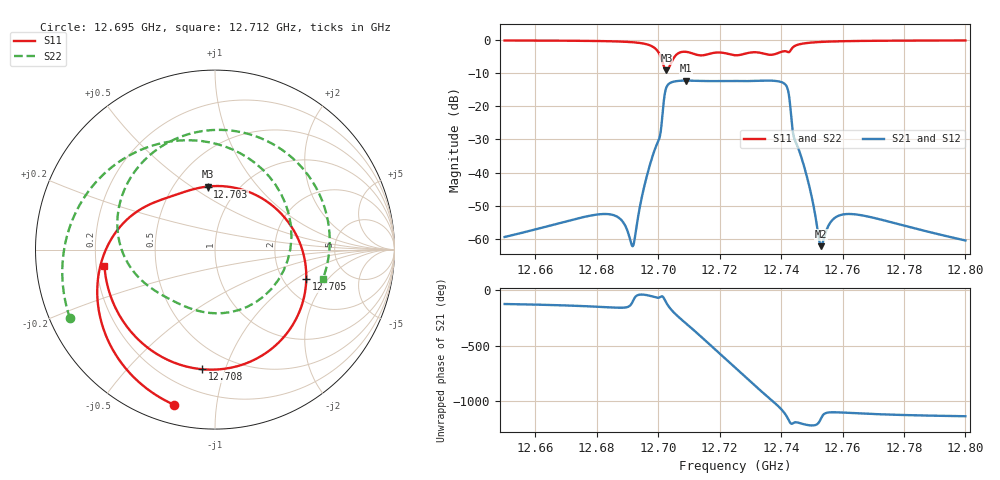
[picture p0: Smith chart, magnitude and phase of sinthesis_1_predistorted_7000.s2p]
! libcommonfunc Library of common functions for microwave filters synthesis; version 1.5.2
! [S] parameters file in TouchStone format.
# GHZ S DB R 50
!Freq  S11(dB)  S11(ang)  S12(dB)  S12(ang)  S21(dB)  S21(ang)  S22(dB)  S22(ang)
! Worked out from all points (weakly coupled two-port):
!   2000 points, 12.65 GHz to 12.8 GHz, reference 50 ohm
!   highest |S21| = -12.19 dB at 12.709 GHz (marker M1); lowest = -62.3 dB at 12.753 GHz (marker M2)
!   lowest |S11| = -9.0 dB at 12.703 GHz (marker M3), VSWR 2.09, Z = 36.3 + j29.1 ohm
!   |S11| at or under -10 dB: nowhere
!   |S22| runs from -9.0 to -0.1 dB; largest |S21 - S12| = 0
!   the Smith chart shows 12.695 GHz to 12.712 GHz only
!   S11 on the Smith chart (normalised r, x): 12.695 GHz: 0.09, -0.77; 12.703 GHz: 0.73, +0.58; 12.705 GHz: 2.66, -1.23; 12.708 GHz: 0.35, -0.84; 12.712 GHz: 0.23, -0.07
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12.65  -0.06 -31.1  -59.50 -122.4  -59.50 -122.4  -0.06 -46.1
12.67506  -0.16 -49.5  -53.61 -140.8  -53.61 -140.8  -0.16 -73.7
12.69165  -0.59 -86.1  -62.28 -103.0  -62.28 -103.0  -0.59 -128.0
12.6951  -0.97 -104.7  -45.64 -37.4  -45.64 -37.4  -0.97 -154.6
12.70005  -3.58 -168.1  -30.46 -65.3  -30.46 -65.3  -3.58 116.3
12.70268  -9.03 96.5  -14.23 -113.0  -14.23 -113.0  -9.03 -100.0
12.705  -5.44 -18.0  -12.52 163.3  -12.52 163.3  -5.44 175.3
12.70823  -3.47 -96.2  -12.20 80.8  -12.20 80.8  -3.47 75.5
12.7089  -3.48 -110.0  -12.19 64.6  -12.19 64.6  -3.48 55.6
12.71161  -4.11 -171.3  -12.25 -0.3  -12.25 -0.3  -4.11 -15.4
12.71866  -3.73 1.1  -12.32 -178.6  -12.32 -178.6  -3.73 179.9
12.72504  -4.53 -155.8  -12.31 21.5  -12.31 21.5  -4.53 20.1
12.72961  -3.77 83.2  -12.33 -95.2  -12.33 -95.2  -3.77 -88.5
12.73329  -3.80 2.1  -12.24 173.3  -12.24 173.3  -3.80 170.5
12.73952  -3.69 -158.4  -12.50 19.6  -12.50 19.6  -3.69 7.6
12.74117  -3.29 169.7  -13.19 -33.4  -13.19 -33.4  -3.29 -83.0
12.7429  -3.32 153.2  -19.13 -115.6  -19.13 -115.6  -3.32 71.4
12.74492  -1.51 131.8  -31.16 -114.5  -31.16 -114.5  -1.51 -99.1
12.75003  -0.68 95.8  -47.59 -143.3  -47.59 -143.3  -0.68 156.1
12.75303  -0.50 83.2  -62.28 -77.1  -62.28 -77.1  -0.50 130.9
12.77501  -0.13 43.9  -54.83 -44.6  -54.83 -44.6  -0.13 65.3
12.8  -0.05 29.1  -60.55 -59.7  -60.55 -59.7  -0.05 42.9
